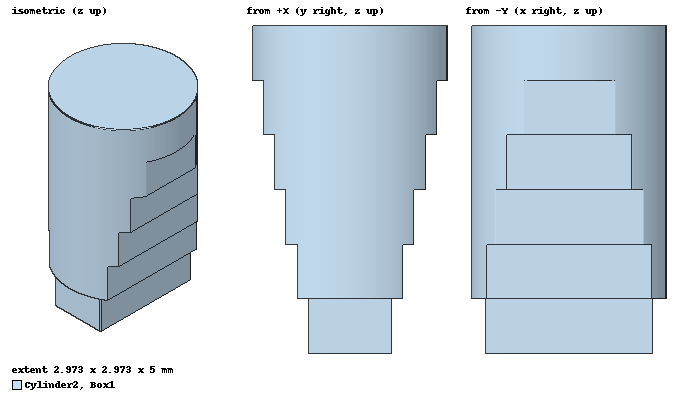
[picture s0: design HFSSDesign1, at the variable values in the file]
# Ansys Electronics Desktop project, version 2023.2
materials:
  vacuum: permittivity=1

design HFSSDesign1 (HFSS, HFSS Terminal Network, model units mm)
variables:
  speedoflight = 300000000m_per_sec
  r90GHz = (2.973/2) mm
  wr10x = 2.54mm
  wr10y = 1.27mm
  lambda4 = (speedoflight/90e6/4) mm
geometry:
  Box1 [vacuum] = box(corner=(-wr10x/2, -wr10y/2, 0mm), size=(wr10x, wr10y, lambda4))
  Cylinder1 = cylinder(axis=Z, base_centre=(0mm, 0mm, lambda4), radius=r90GHz, height=lambda4*5)
  Box2 = box(corner=(-r90GHz, -wr10y/2-(2*r90GHz-wr10y)/5/2, lambda4), size=(r90GHz*2, wr10y+(2*r90GHz-wr10y)/5, lambda4))
  Box3 = box(corner=(-r90GHz, -wr10y/2-(2*r90GHz-wr10y)/5/2*2, lambda4*2), size=(r90GHz*2, wr10y+(2*r90GHz-wr10y)/5*2, lambda4))
  Box4 = box(corner=(-r90GHz, -wr10y/2-(2*r90GHz-wr10y)/5/2*3, lambda4*3), size=(r90GHz*2, wr10y+(2*r90GHz-wr10y)/5*3, lambda4))
  Box5 = box(corner=(-r90GHz, -wr10y/2-(2*r90GHz-wr10y)/5/2*4, lambda4*4), size=(r90GHz*2, wr10y+(2*r90GHz-wr10y)/5*4, lambda4))
  Cylinder2 [vacuum] = cylinder(axis=Z, base_centre=(0mm, 0mm, 5*lambda4), radius=r90GHz, height=lambda4)
  Cylinder2.unite(Box5, Box4, Box3, Box2)
  Cylinder2.intersect(Cylinder1)
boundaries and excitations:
  C: Wave Port Faces=Cylinder2.face(+z end) WavePortType=Modal NumModes=5 UseLineModeAlignment Modes{Mode1{IntLine{(0, 0, 5) -> (0, 1.4865, 5)} CharImp=Zpi} Mode2{IntLine{(0, 0, 5) -> (1.4865, 0, 5)} CharImp=Zpi} Mode3{CharImp=Zpi} Mode4{CharImp=Zpi} Mode5{CharImp=Zpi}}
  R: Wave Port Faces=Box1.face(-z) WavePortType=Modal NumModes=5 UseLineModeAlignment Modes{Mode1{IntLine{(0, 0, 0) -> (0, 0.635, 0)} CharImp=Zpi} Mode2{IntLine{(0, 0, 0) -> (-1.27, 0, 0)} CharImp=Zpi} Mode3{CharImp=Zpi} Mode4{CharImp=Zpi} Mode5{CharImp=Zpi}}
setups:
  Setup1: HfssDriven Frequency=110GHz MaxDeltaS=0.02 MaximumPasses=20 MinimumPasses=1 MinimumConvergedPasses=1 PercentRefinement=30 BasisOrder=1 PortAccuracy=2 DrivenSolverType="Direct Solver"
    sweep Sweep: 75GHz to 110GHz step 0.275GHz; Type=Interpolating SaveFields InterpTolerance=0.5 InterpMaxSolns=250 PassivityErrorTolerance=0.0001
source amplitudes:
  C:1: 1V 0deg
  C:2..C:5, R:1..R:5: 0V 0deg
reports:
  S Parameter Plot 1: dB(S(C:1,C:1)), dB(S(R:1,R:1)), dB(S(C:1,R:1)), dB(S(R:1,C:2)) vs Freq on Setup1 : Sweep
